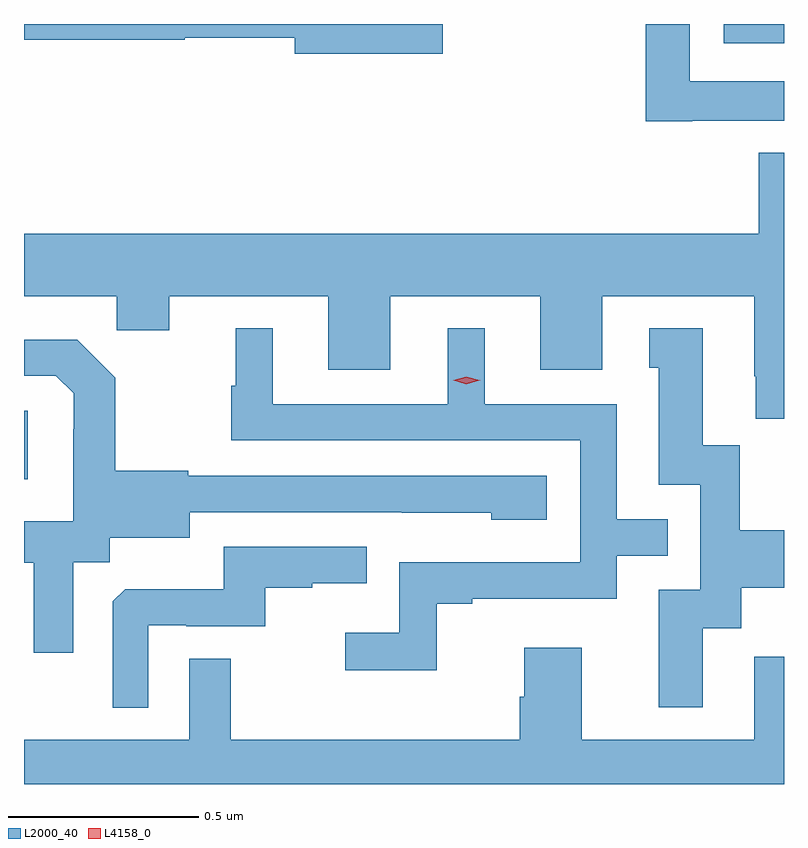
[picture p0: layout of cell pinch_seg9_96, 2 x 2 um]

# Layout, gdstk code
import gdstk
lib = gdstk.Library(unit=1e-6, precision=1e-09)
def R(c, l, rs):  # rectangles x0, y0, x1, y1
    for r in rs: c.add(gdstk.rectangle(r[:2], r[2:], *l))
def P(c, l, *ps):  # polygons
    for p in ps: c.add(gdstk.Polygon(p, *l))
L2000_40 = (2000, 40)
L4158_0 = (4158, 0)

pinch_seg9_96 = lib.new_cell('pinch_seg9_96')
R(pinch_seg9_96, L2000_40, [(1047.969,1187.946,1047.979,1188.126), (1049.81,1189.094,1049.969,1189.144)])
P(pinch_seg9_96, L2000_40, [(1049.728,1188.89),(1049.969,1188.89),(1049.969,1188.994),(1049.721,1188.994),(1049.721,1189.144),(1049.605,1189.144),(1049.605,1188.888),(1049.728,1188.888)],
  [(1049.071,1189.144),(1047.969,1189.144),(1047.969,1189.103),(1048.392,1189.103),(1048.392,1189.108),(1048.682,1189.108),(1048.682,1189.066),(1049.071,1189.066)],
  [(1049.969,1188.805),(1049.903,1188.805),(1049.903,1188.592),(1047.969,1188.592),(1047.969,1188.428),(1048.213,1188.428),(1048.213,1188.338),(1048.351,1188.338),(1048.351,1188.428),(1048.769,1188.428),(1048.769,1188.234),(1048.933,1188.234),(1048.933,1188.428),(1049.327,1188.428),(1049.327,1188.234),(1049.491,1188.234),(1049.491,1188.428),(1049.891,1188.428),(1049.891,1188.217),(1049.894,1188.217),(1049.894,1188.105),(1049.969,1188.105)],
  [(1049.055,1187.619),(1049.149,1187.619),(1049.149,1187.631),(1049.529,1187.631),(1049.529,1187.745),(1049.663,1187.745),(1049.663,1187.841),(1049.529,1187.841),(1049.529,1188.144),(1049.182,1188.144),(1049.182,1188.343),(1049.084,1188.343),(1049.084,1188.144),(1048.624,1188.144),(1048.624,1188.343),(1048.526,1188.343),(1048.526,1188.192),(1048.515,1188.192),(1048.515,1188.048),(1049.433,1188.048),(1049.433,1187.727),(1048.956,1187.727),(1048.956,1187.542),(1048.815,1187.542),(1048.815,1187.444),(1049.055,1187.444)],
  [(1049.755,1187.554),(1049.857,1187.554),(1049.857,1187.66),(1049.969,1187.66),(1049.969,1187.812),(1049.853,1187.812),(1049.853,1188.035),(1049.755,1188.035),(1049.755,1188.343),(1049.615,1188.343),(1049.615,1188.24),(1049.639,1188.24),(1049.639,1187.931),(1049.748,1187.931),(1049.748,1187.655),(1049.639,1187.655),(1049.639,1187.346),(1049.755,1187.346)],
  [(1048.099,1187.728),(1048.194,1187.728),(1048.194,1187.792),(1048.405,1187.792),(1048.405,1187.859),(1048.963,1187.859),(1048.963,1187.858),(1049.199,1187.858),(1049.199,1187.84),(1049.344,1187.84),(1049.344,1187.955),(1048.401,1187.955),(1048.401,1187.968),(1048.209,1187.968),(1048.209,1188.213),(1048.109,1188.313),(1047.969,1188.313),(1047.969,1188.219),(1048.053,1188.219),(1048.1,1188.172),(1048.1,1188.077),(1048.098,1188.077),(1048.098,1187.836),(1047.969,1187.836),(1047.969,1187.726),(1047.995,1187.726),(1047.995,1187.49),(1048.099,1187.49)],
  [(1048.296,1187.562),(1048.396,1187.562),(1048.396,1187.559),(1048.604,1187.559),(1048.604,1187.661),(1048.727,1187.661),(1048.727,1187.672),(1048.871,1187.672),(1048.871,1187.769),(1048.494,1187.769),(1048.494,1187.657),(1048.235,1187.657),(1048.203,1187.625),(1048.203,1187.345),(1048.296,1187.345)],
  [(1049.969,1187.479),(1049.891,1187.479),(1049.891,1187.26),(1049.437,1187.26),(1049.437,1187.503),(1049.285,1187.503),(1049.285,1187.373),(1049.273,1187.373),(1049.273,1187.26),(1048.513,1187.26),(1048.513,1187.474),(1048.404,1187.474),(1048.404,1187.26),(1047.969,1187.26),(1047.969,1187.144),(1049.969,1187.144)])
P(pinch_seg9_96, L4158_0, [(1049.133,1188.196),(1049.098,1188.206),(1049.097,1188.206),(1049.098,1188.207),(1049.133,1188.216),(1049.168,1188.207),(1049.169,1188.206),(1049.168,1188.206)])

lib.write_gds('pinch_seg9_96.gds')
